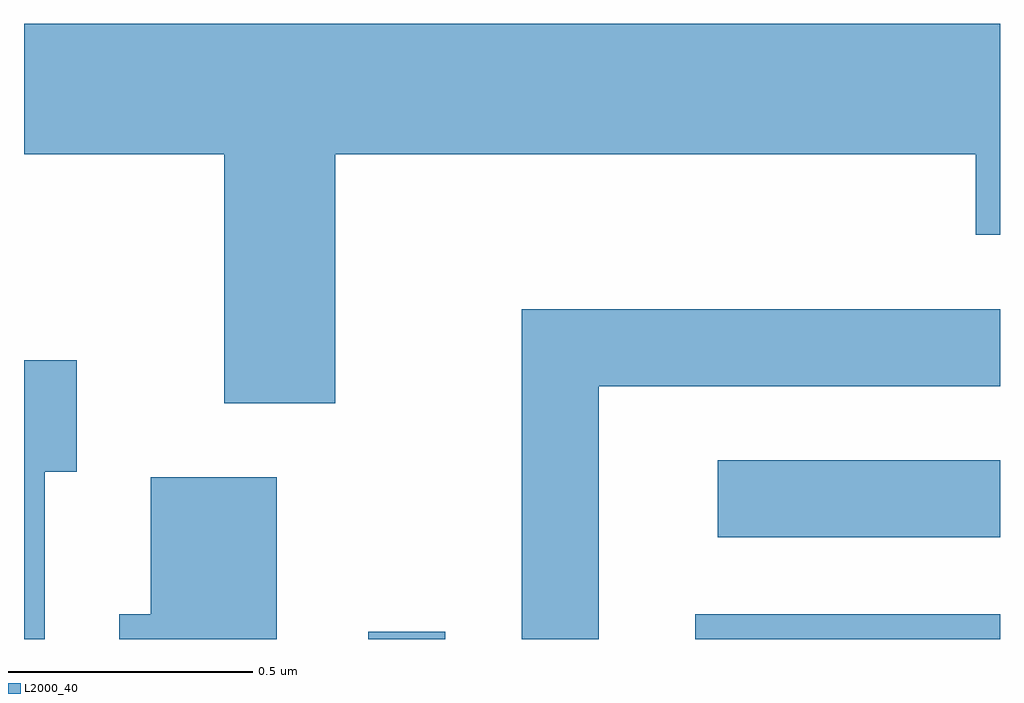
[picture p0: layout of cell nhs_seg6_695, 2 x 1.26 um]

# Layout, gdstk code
import gdstk
lib = gdstk.Library(unit=1e-6, precision=1e-09)
def R(c, l, rs):  # rectangles x0, y0, x1, y1
    for r in rs: c.add(gdstk.rectangle(r[:2], r[2:], *l))
def P(c, l, *ps):  # polygons
    for p in ps: c.add(gdstk.Polygon(p, *l))
L2000_40 = (2000, 40)

nhs_seg6_695 = lib.new_cell('nhs_seg6_695')
R(nhs_seg6_695, L2000_40, [(191.316,1540.162,191.474,1540.178), (191.986,1540.162,192.611,1540.214), (192.033,1540.371,192.611,1540.529)])
P(nhs_seg6_695, L2000_40, [(191.249,1541.156),(192.561,1541.156),(192.561,1540.991),(192.611,1540.991),(192.611,1541.424),(190.611,1541.424),(190.611,1541.156),(191.021,1541.156),(191.021,1540.646),(191.249,1540.646)],
  [(191.789,1540.681),(192.611,1540.681),(192.611,1540.839),(191.631,1540.839),(191.631,1540.162),(191.789,1540.162)],
  [(190.654,1540.506),(190.719,1540.506),(190.719,1540.734),(190.611,1540.734),(190.611,1540.162),(190.654,1540.162)],
  [(191.129,1540.494),(190.871,1540.494),(190.871,1540.214),(190.806,1540.214),(190.806,1540.162),(191.129,1540.162)])

lib.write_gds('nhs_seg6_695.gds')
